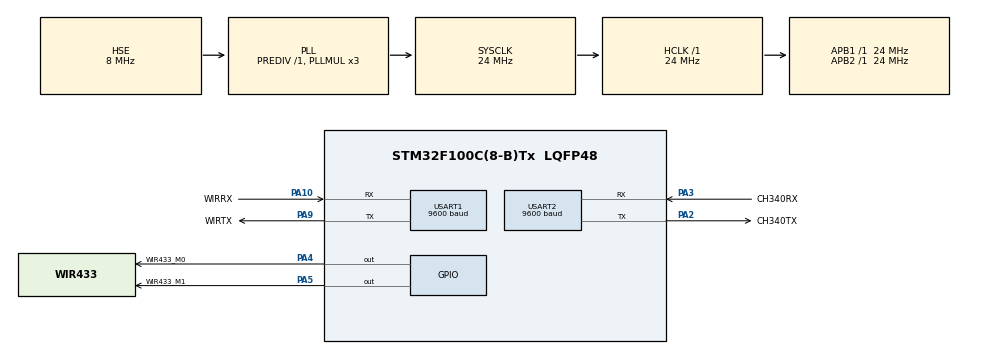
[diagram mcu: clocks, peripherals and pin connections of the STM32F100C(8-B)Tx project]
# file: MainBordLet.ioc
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Dma.Request0=USART1_RX
Dma.Request1=USART1_TX
Dma.Request2=USART2_RX
Dma.Request3=USART2_TX
Dma.USART1_RX.0.Direction=DMA_PERIPH_TO_MEMORY
Dma.USART1_RX.0.Instance=DMA1_Channel5
Dma.USART1_RX.0.MemDataAlignment=DMA_MDATAALIGN_BYTE
Dma.USART1_RX.0.MemInc=DMA_MINC_ENABLE
Dma.USART1_RX.0.Mode=DMA_NORMAL
Dma.USART1_RX.0.PeriphDataAlignment=DMA_PDATAALIGN_BYTE
Dma.USART1_RX.0.PeriphInc=DMA_PINC_DISABLE
Dma.USART1_RX.0.Priority=DMA_PRIORITY_LOW
Dma.USART1_TX.1.Direction=DMA_MEMORY_TO_PERIPH
Dma.USART1_TX.1.Instance=DMA1_Channel4
Dma.USART1_TX.1.MemDataAlignment=DMA_MDATAALIGN_BYTE
Dma.USART1_TX.1.MemInc=DMA_MINC_ENABLE
Dma.USART1_TX.1.Mode=DMA_NORMAL
Dma.USART1_TX.1.PeriphDataAlignment=DMA_PDATAALIGN_BYTE
Dma.USART1_TX.1.PeriphInc=DMA_PINC_DISABLE
Dma.USART1_TX.1.Priority=DMA_PRIORITY_LOW
Dma.USART2_RX.2.Direction=DMA_PERIPH_TO_MEMORY
Dma.USART2_RX.2.Instance=DMA1_Channel6
Dma.USART2_RX.2.MemDataAlignment=DMA_MDATAALIGN_BYTE
Dma.USART2_RX.2.MemInc=DMA_MINC_ENABLE
Dma.USART2_RX.2.Mode=DMA_NORMAL
Dma.USART2_RX.2.PeriphDataAlignment=DMA_PDATAALIGN_BYTE
Dma.USART2_RX.2.PeriphInc=DMA_PINC_DISABLE
Dma.USART2_RX.2.Priority=DMA_PRIORITY_LOW
Dma.USART2_TX.3.Direction=DMA_MEMORY_TO_PERIPH
Dma.USART2_TX.3.Instance=DMA1_Channel7
Dma.USART2_TX.3.MemDataAlignment=DMA_MDATAALIGN_BYTE
Dma.USART2_TX.3.MemInc=DMA_MINC_ENABLE
Dma.USART2_TX.3.Mode=DMA_NORMAL
Dma.USART2_TX.3.PeriphDataAlignment=DMA_PDATAALIGN_BYTE
Dma.USART2_TX.3.PeriphInc=DMA_PINC_DISABLE
Dma.USART2_TX.3.Priority=DMA_PRIORITY_LOW
Mcu.Family=STM32F1
Mcu.Name=STM32F100C(8-B)Tx
Mcu.Package=LQFP48
NVIC.DMA1_Channel4_IRQn=true\:1\:0\:true\:false\:true\:false
NVIC.DMA1_Channel5_IRQn=true\:1\:0\:true\:false\:true\:false
NVIC.DMA1_Channel6_IRQn=true\:1\:0\:true\:false\:true\:false
NVIC.DMA1_Channel7_IRQn=true\:1\:0\:true\:false\:true\:false
NVIC.PriorityGroup=NVIC_PRIORITYGROUP_2
NVIC.USART1_IRQn=true\:1\:2\:true\:false\:true\:true
NVIC.USART2_IRQn=true\:2\:2\:true\:false\:true\:true
PA10.GPIO_Label=WIRRX
PA10.Mode=Asynchronous
PA10.Signal=USART1_RX
PA13.Mode=Serial_Wire
PA13.Signal=SYS_JTMS-SWDIO
PA14.Mode=Serial_Wire
PA14.Signal=SYS_JTCK-SWCLK
PA2.GPIO_Label=CH340TX
PA2.Mode=Asynchronous
PA2.Signal=USART2_TX
PA3.GPIO_Label=CH340RX
PA3.Mode=Asynchronous
PA3.Signal=USART2_RX
PA4.GPIO_Label=WIR433_M0
PA4.Signal=GPIO_Output
PA5.GPIO_Label=WIR433_M1
PA5.Signal=GPIO_Output
PA9.GPIO_Label=WIRTX
PA9.Mode=Asynchronous
PA9.Signal=USART1_TX
PD0-OSC_IN.Mode=HSE-External-Oscillator
PD0-OSC_IN.Signal=RCC_OSC_IN
PD1-OSC_OUT.Mode=HSE-External-Oscillator
PD1-OSC_OUT.Signal=RCC_OSC_OUT
ProjectManager.HeapSize=0x200
ProjectManager.StackSize=0x400
ProjectManager.TargetToolchain=MDK-ARM V5
RCC.AHBFreq_Value=24000000
RCC.APB1Freq_Value=24000000
RCC.APB1TimFreq_Value=24000000
RCC.APB2Freq_Value=24000000
RCC.APB2TimFreq_Value=24000000
RCC.HCLKFreq_Value=24000000
RCC.PLLMUL=RCC_PLL_MUL3
RCC.PLLSource=RCC_PLLSOURCE_HSE
RCC.SYSCLKFreq_VALUE=24000000
RCC.SYSCLKSource=RCC_SYSCLKSOURCE_PLLCLK
USART1.BaudRate=9600
USART1.VirtualMode=VM_ASYNC
USART2.BaudRate=9600
USART2.VirtualMode=VM_ASYNC
board=MainBordLet

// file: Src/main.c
/**
  ******************************************************************************
  * @file           : main.c
  * @brief          : Main program body
  ******************************************************************************
  ** This notice applies to any and all portions of this file
  * that are not between comment pairs USER CODE BEGIN and
  * USER CODE END. Other portions of this file, whether
  * inserted by the user or by software development tools
  * are owned by their respective copyright owners.
  *
  * COPYRIGHT(c) 2018 STMicroelectronics
  *
  * Redistribution and use in source and binary forms, with or without modification,
  * are permitted provided that the following conditions are met:
  *   1. Redistributions of source code must retain the above copyright notice,
  *      this list of conditions and the following disclaimer.
  *   2. Redistributions in binary form must reproduce the above copyright notice,
  *      this list of conditions and the following disclaimer in the documentation
  *      and/or other materials provided with the distribution.
  *   3. Neither the name of STMicroelectronics nor the names of its contributors
  *      may be used to endorse or promote products derived from this software
  *      without specific prior written permission.
  *
  * THIS SOFTWARE IS PROVIDED BY THE COPYRIGHT HOLDERS AND CONTRIBUTORS "AS IS"
  * AND ANY EXPRESS OR IMPLIED WARRANTIES, INCLUDING, BUT NOT LIMITED TO, THE
  * IMPLIED WARRANTIES OF MERCHANTABILITY AND FITNESS FOR A PARTICULAR PURPOSE ARE
  * DISCLAIMED. IN NO EVENT SHALL THE COPYRIGHT HOLDER OR CONTRIBUTORS BE LIABLE
  * FOR ANY DIRECT, INDIRECT, INCIDENTAL, SPECIAL, EXEMPLARY, OR CONSEQUENTIAL
  * DAMAGES (INCLUDING, BUT NOT LIMITED TO, PROCUREMENT OF SUBSTITUTE GOODS OR
  * SERVICES; LOSS OF USE, DATA, OR PROFITS; OR BUSINESS INTERRUPTION) HOWEVER
  * CAUSED AND ON ANY THEORY OF LIABILITY, WHETHER IN CONTRACT, STRICT LIABILITY,
  * OR TORT (INCLUDING NEGLIGENCE OR OTHERWISE) ARISING IN ANY WAY OUT OF THE USE
  * OF THIS SOFTWARE, EVEN IF ADVISED OF THE POSSIBILITY OF SUCH DAMAGE.
  *
  ******************************************************************************
  */
#include "main.h"
#include "stm32f1xx_hal.h"
#include "dma.h"
#include "usart.h"
#include "gpio.h"

/* USER CODE BEGIN PV */
/* Private variables ---------------------------------------------------------*/
uint8_t UartTTLTxBuff[50];
uint8_t UartTTLRxBuff[200];
uint8_t UartWIRTxBuff[50];
uint8_t UartWIRRxBuff[50];
uint8_t ttlRecFlag = 0;
uint8_t wirRecFlag = 0;
/* USER CODE END PV */

void SystemClock_Config(void);
void setMode(uint8_t mode);
/* USER CODE BEGIN PFP */
/* Private function prototypes -----------------------------------------------*/

/* USER CODE END PFP */

int main(void)
{

  /* MCU Configuration----------------------------------------------------------*/

  /* Reset of all peripherals, Initializes the Flash interface and the Systick. */
  HAL_Init();

  /* Configure the system clock */
  SystemClock_Config();

  /* Initialize all configured peripherals */
  MX_GPIO_Init();
  MX_DMA_Init();
  MX_USART1_UART_Init();
  MX_USART2_UART_Init();
  /* USER CODE BEGIN 2 */
	HAL_UART_Receive_IT(&huart1,	UartWIRRxBuff,1);
	HAL_UART_Receive_IT(&huart2,	UartTTLRxBuff,1);
  /* USER CODE END 2 */

  /* Infinite loop */
  while (1)
  {

  /* USER CODE BEGIN 3 */

		if(ttlRecFlag==1)
		{
			ttlRecFlag=0;
			if((UartTTLRxBuff[0]&0xC0) == 0XC0)
				{
					HAL_UART_Receive(&huart2,	&UartTTLRxBuff[1],200,200);
					setMode(3);
					HAL_UART_Transmit_IT(&huart1,UartTTLRxBuff,huart2.RxXferSize - huart2.RxXferCount);
					HAL_UART_Receive_IT(&huart2,	UartTTLRxBuff,1);
					setMode(0);
				}
					else
				{
					HAL_UART_Receive(&huart2,	&UartTTLRxBuff[1],200,200);
					HAL_UART_Transmit_IT(&huart1,UartTTLRxBuff,huart2.RxXferSize - huart2.RxXferCount);
					HAL_UART_Receive_IT(&huart2,	UartTTLRxBuff,1);
				}
		}

  }

  /* USER CODE END 3 */

}

void SystemClock_Config(void)
{

  RCC_OscInitTypeDef RCC_OscInitStruct;
  RCC_ClkInitTypeDef RCC_ClkInitStruct;

    /**Initializes the CPU, AHB and APB busses clocks
    */
  RCC_OscInitStruct.OscillatorType = RCC_OSCILLATORTYPE_HSE;
  RCC_OscInitStruct.HSEState = RCC_HSE_ON;
  RCC_OscInitStruct.HSEPredivValue = RCC_HSE_PREDIV_DIV1;
  RCC_OscInitStruct.PLL.PLLState = RCC_PLL_ON;
  RCC_OscInitStruct.PLL.PLLSource = RCC_PLLSOURCE_HSE;
  RCC_OscInitStruct.PLL.PLLMUL = RCC_PLL_MUL3;
  if (HAL_RCC_OscConfig(&RCC_OscInitStruct) != HAL_OK)
  {
    _Error_Handler(__FILE__, __LINE__);
  }

    /**Initializes the CPU, AHB and APB busses clocks
    */
  RCC_ClkInitStruct.ClockType = RCC_CLOCKTYPE_HCLK|RCC_CLOCKTYPE_SYSCLK
                              |RCC_CLOCKTYPE_PCLK1|RCC_CLOCKTYPE_PCLK2;
  RCC_ClkInitStruct.SYSCLKSource = RCC_SYSCLKSOURCE_PLLCLK;
  RCC_ClkInitStruct.AHBCLKDivider = RCC_SYSCLK_DIV1;
  RCC_ClkInitStruct.APB1CLKDivider = RCC_HCLK_DIV1;
  RCC_ClkInitStruct.APB2CLKDivider = RCC_HCLK_DIV1;

  if (HAL_RCC_ClockConfig(&RCC_ClkInitStruct, FLASH_LATENCY_0) != HAL_OK)
  {
    _Error_Handler(__FILE__, __LINE__);
  }

    /**Configure the Systick interrupt time
    */
  HAL_SYSTICK_Config(HAL_RCC_GetHCLKFreq()/1000);

    /**Configure the Systick
    */
  HAL_SYSTICK_CLKSourceConfig(SYSTICK_CLKSOURCE_HCLK);

  /* SysTick_IRQn interrupt configuration */
  HAL_NVIC_SetPriority(SysTick_IRQn, 0, 0);
}

/* USER CODE BEGIN 4 */
void setMode(uint8_t mode)
{

	HAL_Delay(200);
	HAL_GPIO_WritePin(WIR433_M0_GPIO_Port,WIR433_M0_Pin,(GPIO_PinState)(mode&0x01));
	HAL_GPIO_WritePin(WIR433_M1_GPIO_Port,WIR433_M1_Pin,(GPIO_PinState)(mode&0x02));
	HAL_Delay(200);
}
/* USER CODE END 4 */

void _Error_Handler(char *file, int line)
{
  while(1)
  {
  }
}

/************************ (C) COPYRIGHT STMicroelectronics *****END OF FILE****/
